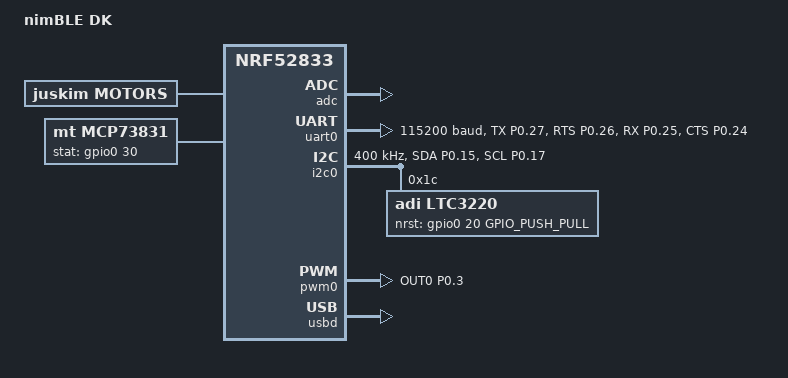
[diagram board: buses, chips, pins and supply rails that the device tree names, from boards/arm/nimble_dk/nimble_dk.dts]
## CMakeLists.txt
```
#
# Copyright (c) 2023 juskim. All rights reserved.
# GitHub: jus-kim, YouTube: @juskim
#

cmake_minimum_required(VERSION 3.20.0)
add_compile_options(-Werror)
find_package(Zephyr REQUIRED HINTS $ENV{ZEPHYR_BASE})
project(nimBLE)

# Include syscall directory for custom Zephyr-based driver headers
list(APPEND SYSCALL_INCLUDE_DIRS ${CMAKE_CURRENT_SOURCE_DIR}/include)
set(SYSCALL_INCLUDE_DIRS ${SYSCALL_INCLUDE_DIRS})

# Include all header files
add_subdirectory(src)
zephyr_include_directories(include)
```

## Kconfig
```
#
# Copyright (c) 2023 juskim. All rights reserved.
# GitHub: jus-kim, YouTube: @juskim
#

rsource "src/Kconfig"
```

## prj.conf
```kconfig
#
# Copyright (c) 2023 juskim. All rights reserved.
# GitHub: jus-kim, YouTube: @juskim
#

# OS profile
CONFIG_PROFILE_TINYRC=y

# SoC peripherals
CONFIG_GPIO=y
CONFIG_PWM=y
CONFIG_I2C=y

# Drivers
CONFIG_MOTORS_DRV=y
CONFIG_LED_DRIVERS=y
CONFIG_LTC3220=y
CONFIG_BAT_CHARGER=y
CONFIG_MCP73831=y
```

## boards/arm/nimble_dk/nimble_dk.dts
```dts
// Copyright (c) 2023 juskim (GitHub: jus-kim, YouTube: @juskim)
// SPDX-License-Identifier: Apache-2.0

/dts-v1/;
#include <nordic/nrf52833_qiaa.dtsi>

/ {
	model = "nimBLE DK";
	compatible = "juskim,nimble-dk";

	chosen {
		zephyr,console = &cdc_acm_uart0;
		zephyr,shell-uart = &cdc_acm_uart0;
		//zephyr,uart-mcumgr = &cdc_acm_uart0;
		//zephyr,bt-mon-uart = &cdc_acm_uart0;
		//zephyr,bt-c2h-uart = &cdc_acm_uart0;
		zephyr,sram = &sram0;
		zephyr,flash = &flash0;
		zephyr,code-partition = &slot0_partition;
		nordic,uart0 = &uart0;
	};

	aliases {
		motors0 = &motors0;
		ltc3220 = &ltc3220;
		mcp73831 = &mcp73831;
	};

	motors {
		compatible = "juskim,motors";
		
		motors0: motors_0 {
			pwms = <&pwm0 0 PWM_USEC(5000) PWM_POLARITY_NORMAL>; // DC motor EN pin
			nsleep-gpios = <&gpio0 5 GPIO_PUSH_PULL>;
			en-gpios = <&gpio0 31 GPIO_PUSH_PULL>;
			dc-ph-gpios = <&gpio0 2 GPIO_PUSH_PULL>;
			step-step-gpios = <&gpio0 11 GPIO_PUSH_PULL>;
			step-dir-gpios = <&gpio0 4 GPIO_PUSH_PULL>;
			step-nrst-gpios = <&gpio1 9 GPIO_PUSH_PULL>;
			step-period-us = <250>;
		};
	};

	mcp73831: mcp73831 {
		compatible = "mt,mcp73831";
		stat-gpios = <&gpio0 30 GPIO_ACTIVE_HIGH>;
		maxcharge-ma = <200>;
	};
};

&adc {
	status = "okay";
};

&gpiote {
	status = "okay";
};

&gpio0 {
	status = "okay";
};

&gpio1 {
	status = "okay";
};

&uart0 {
	compatible = "nordic,nrf-uarte";
	status = "okay";
	current-speed = <115200>;
	pinctrl-0 = <&uart0_default>;
	pinctrl-1 = <&uart0_sleep>;
	pinctrl-names = "default", "sleep";
};

&i2c0 {
	compatible = "nordic,nrf-twim";
	status = "okay";
	pinctrl-0 = <&i2c0_default>;
	pinctrl-1 = <&i2c0_sleep>;
	pinctrl-names = "default", "sleep";
	clock-frequency = <I2C_BITRATE_FAST>;

	ltc3220: ltc3220@1c{
		compatible = "adi,ltc3220";
		reg = <0x1c>;
		nrst-gpios = <&gpio0 20 GPIO_PUSH_PULL>;
		led-count = <18>;
	};
};

&pwm0 {
	status = "okay";
	pinctrl-0 = <&pwm0_default>;
	pinctrl-1 = <&pwm0_sleep>;
	pinctrl-names = "default", "sleep";
};

&flash0 {

	partitions {
		compatible = "fixed-partitions";
		#address-cells = <1>;
		#size-cells = <1>;

		boot_partition: partition@0 {
			label = "mcuboot";
			reg = <0x00000000 0xC000>;
		};
		slot0_partition: partition@c000 {
			label = "image-0";
			reg = <0x0000C000 0x37000>;
		};
		slot1_partition: partition@43000 {
			label = "image-1";
			reg = <0x00043000 0x37000>;
		};
		storage_partition: partition@7a000 {
			label = "storage";
			reg = <0x0007A000 0x00006000>;
		};
	};
};

zephyr_udc0: &usbd {
	compatible = "nordic,nrf-usbd";
	status = "okay";
	cdc_acm_uart0: cdc_acm_uart0 {
		compatible = "zephyr,cdc-acm-uart";
	};
};

&pinctrl {
	uart0_default: uart0_default {
		group1 {
			psels = <NRF_PSEL(UART_TX, 0, 27)>,
				<NRF_PSEL(UART_RTS, 0, 26)>;
		};
		group2 {
			psels = <NRF_PSEL(UART_RX, 0, 25)>,
				<NRF_PSEL(UART_CTS, 0, 24)>;
			bias-pull-up;
		};
	};

	uart0_sleep: uart0_sleep {
		group1 {
			psels = <NRF_PSEL(UART_TX, 0, 27)>,
				<NRF_PSEL(UART_RX, 0, 25)>,
				<NRF_PSEL(UART_RTS, 0, 26)>,
				<NRF_PSEL(UART_CTS, 0, 24)>;
			low-power-enable;
		};
	};

	i2c0_default: i2c0_default {
		group1 {
			psels = <NRF_PSEL(TWIM_SDA, 0, 15)>,
				<NRF_PSEL(TWIM_SCL, 0, 17)>;
		};
	};

	i2c0_sleep: i2c0_sleep {
		group1 {
			psels = <NRF_PSEL(TWIM_SDA, 0, 15)>,
				<NRF_PSEL(TWIM_SCL, 0, 17)>;
			low-power-enable;
		};
	};

	pwm0_default: pwm0_default {
		group1 {
			psels = <NRF_PSEL(PWM_OUT0, 0, 3)>;	// Channel 0
			nordic,invert;
		};
	};

	pwm0_sleep: pwm0_sleep {
		group1 {
			psels = <NRF_PSEL(PWM_OUT0, 0, 3)>;	// Channel 0
			low-power-enable;
		};
	};
};
```

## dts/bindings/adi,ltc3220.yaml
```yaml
# Copyright (c) 2023 juskim (GitHub: jus-kim, YouTube: @juskim)
# SPDX-License-Identifier: Apache-2.0

description: ADI LTC3220 LED drivers.

compatible: "adi,ltc3220"

include: [i2c-device.yaml]

properties:

  reg:
    required: true

  nrst-gpios:
    type: phandle-array
    required: true
    description: |
      The LED drivers !RST signal

  led-count:
    type: int
    required: true
    description: |
      Total number of LEDs
    default: 18
```

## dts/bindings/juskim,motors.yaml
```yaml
# Copyright (c) 2023 juskim (GitHub: jus-kim, YouTube: @juskim)
# SPDX-License-Identifier: Apache-2.0

description: Motor controller parent node to be used with DRV8220 and A4988.

compatible: "juskim,motors"

child-binding:

  description: Motor controller child node

  properties:

    pwms:
      required: true
      type: phandle-array

    nsleep-gpios:
      type: phandle-array
      required: true
      description: |
        The !SLEEP signal

    en-gpios:
      type: phandle-array
      required: true
      description: |
        The boost EN signal

    dc-ph-gpios:
      type: phandle-array
      required: true
      description: |
        The DC PH signal

    step-step-gpios:
      type: phandle-array
      required: true
      description: |
        The stepper STEP signal

    step-dir-gpios:
      type: phandle-array
      required: true
      description: |
        The stepper DIR signal

    step-nrst-gpios:
      type: phandle-array
      required: true
      description: |
        The stepper !RST signal
        
    step-period-us:
      type: int
      required: true
      description: |
        The stepper motor period in microseconds
      default: 250
```

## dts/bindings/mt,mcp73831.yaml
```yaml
# Copyright (c) 2023 juskim (GitHub: jus-kim, YouTube: @juskim)
# SPDX-License-Identifier: Apache-2.0

description: Microchip MCP73831 battery charger.

compatible: "mt,mcp73831"

include: []

properties:

  stat-gpios:
    type: phandle-array
    required: true
    description: |
      The battery charger STAT signal

  maxcharge-ma:
    type: int
    required: true
    description: |
      Maximum charge current in mA
    default: 200
```

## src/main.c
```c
/**
 * \copyright  Copyright 2023 juskim. All rights reserved.
 *             The code for this project follow the Apache 2.0 license and details 
 *             are provided in the LICENSE file located in the root folder of this 
 *             project. Details of SOUP used in this project can also be found in 
 *             the SOUP file located in the root folder.
 * 
 * @file       main.c
 * @author     juskim (GitHub: jus-kim, YouTube: @juskim)
 * @brief      Main file for the nimBLE.
 */

#include <zephyr/types.h>
#include <zephyr/kernel.h>
#include <zephyr/logging/log.h>

#include <lib/misc/soc_lib.h>
#include <profile/tinyrc.h>

LOG_MODULE_REGISTER(LOG_MAIN);


int32_t main(void)
{
   // NOTE: init functions do not return if error occurs!
   soc_lib_init();

   tinyrc_init();

   for (;;) {
      k_sleep(K_MSEC(1000));
   }
}
```
